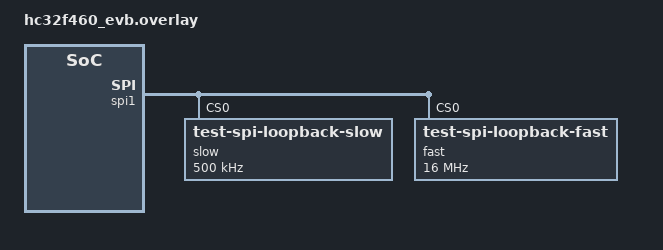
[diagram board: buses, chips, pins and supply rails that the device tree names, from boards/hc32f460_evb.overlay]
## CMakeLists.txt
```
# SPDX-License-Identifier: Apache-2.0

cmake_minimum_required(VERSION 3.20.0)

find_package(Zephyr REQUIRED HINTS $ENV{ZEPHYR_BASE})
project(spi_slave_hc32)

target_sources_ifdef(CONFIG_SPI_SLAVE app PRIVATE src/spi_slave.c)
```

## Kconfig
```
# SPDX-License-Identifier: Apache-2.0

mainmenu "SPI Slave hc32"

source "Kconfig.zephyr"

config SPI_LOOPBACK_MODE_LOOP
	bool "Configure the SPI in LOOP mode, so that no extra wiring is needed"

if SOC_SERIES_HC32

config SPI_LOOPBACK_16BITS_FRAMES
	bool "Use 16 bits frames for tests"

config DT_DEFINED_NOCACHE
	bool "Enable this if nocache regions are defined in devicetree"

if DT_DEFINED_NOCACHE

config DT_DEFINED_NOCACHE_NAME
	string "Name of the nocache region defined in devicetree (capitals)"

endif # DT_DEFINED_NOCACHE

endif # SOC_SERIES_HC32
```

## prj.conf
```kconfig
CONFIG_TEST=y
CONFIG_BOOT_BANNER=y

CONFIG_SPI=y
CONFIG_SPI_ASYNC=n
CONFIG_SPI_HC32_INTERRUPT=n
CONFIG_SPI_LOOPBACK_MODE_LOOP=n

CONFIG_SPI_SLAVE=y

CONFIG_SPI_HC32_DMA=y

CONFIG_SPI_LOG_LEVEL_INF=y
CONFIG_ZTEST=y
CONFIG_ZTEST_NEW_API=y
```

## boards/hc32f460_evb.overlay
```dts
/*
 * SPDX-License-Identifier: Apache-2.0
 *
 * Copyright (c) 2022 TOKITA Hiroshi <tokita.hiroshi@gmail.com>
 */

 &pinctrl {
	spi1_default: spi1_default {
		group1 {
			pinmux = <HC32_PINMUX('A', 8, FUNC, 43, 0)>, /*  SCK */
				 <HC32_PINMUX('B', 0, FUNC, 40, 0)>, /* MOSI */
				 <HC32_PINMUX('C', 5, FUNC, 41, 0)>, /* MISO */
				 <HC32_PINMUX('A', 7, FUNC, 42, 0)>; /* CS */
				 drive-strength = "high";
		};
	};	
};

&spi1 {
	status = "okay";
	pinctrl-0 = <&spi1_default>;
	pinctrl-names = "default";
	
	dmas =  <&dma1 2 EVT_SRC_SPI1_SPTI (HC32_DMA_MEMORY_TO_PERIPH | HC32_DMA_SOURCE_ADDR_INC | HC32_DMA_DEST_ADDR_FIX)>,
	   <&dma1 3 EVT_SRC_SPI1_SPRI (HC32_DMA_PERIPH_TO_MEMORY | HC32_DMA_SOURCE_ADDR_FIX | HC32_DMA_DEST_ADDR_INC)>;
	dma-names = "tx", "rx";

	slow@0 {
		compatible = "test-spi-loopback-slow";
		reg = <0>;
		spi-max-frequency = <500000>;
	};
	fast@0 {
		compatible = "test-spi-loopback-fast";
		reg = <0>;
		spi-max-frequency = <16000000>;
	};
};

&dma1 {
	status = "okay";
};
```

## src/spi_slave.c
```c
/*
 * Copyright (c) 2017 Intel Corporation.
 *
 * SPDX-License-Identifier: Apache-2.0
 */

#define LOG_LEVEL CONFIG_LOG_DEFAULT_LEVEL
#include <zephyr/logging/log.h>
LOG_MODULE_REGISTER(spi_loopback);

#include <zephyr/kernel.h>
#include <zephyr/sys/printk.h>
#include <string.h>
#include <stdio.h>
#include <assert.h>
#include <zephyr/ztest.h>

#include <zephyr/drivers/spi.h>

#define SPI_FAST_DEV	DT_COMPAT_GET_ANY_STATUS_OKAY(test_spi_loopback_fast)
#define SPI_SLOW_DEV	DT_COMPAT_GET_ANY_STATUS_OKAY(test_spi_loopback_slow)

#if CONFIG_SPI_LOOPBACK_MODE_LOOP
#define MODE_LOOP SPI_MODE_LOOP
#else
#define MODE_LOOP 0
#endif

#ifdef CONFIG_SPI_LOOPBACK_16BITS_FRAMES
#define FRAME_SIZE (16)
#define FRAME_SIZE_STR ", frame size = 16"
#else
#define FRAME_SIZE (8)
#define FRAME_SIZE_STR ", frame size = 8"
#endif /* CONFIG_SPI_LOOPBACK_16BITS_FRAMES */

#ifdef CONFIG_DMA

#ifdef CONFIG_NOCACHE_MEMORY
#define DMA_ENABLED_STR ", DMA enabled"
#else /* CONFIG_NOCACHE_MEMORY */
#define DMA_ENABLED_STR ", DMA enabled (without CONFIG_NOCACHE_MEMORY)"
#endif

#else /* CONFIG_DMA */

#define DMA_ENABLED_STR
#endif /* CONFIG_DMA */

#define SPI_OP(frame_size) SPI_OP_MODE_SLAVE | SPI_MODE_CPOL | MODE_LOOP | \
	       SPI_MODE_CPHA | SPI_WORD_SET(frame_size) | SPI_LINES_SINGLE

static struct spi_dt_spec spi_slow = SPI_DT_SPEC_GET(SPI_SLOW_DEV, SPI_OP(8), 0);

/* to run this test, connect MOSI pin to the MISO of the SPI */

#define STACK_SIZE 1024
#define BUF_SIZE 36

#if CONFIG_NOCACHE_MEMORY
#define __NOCACHE	__attribute__((__section__(".nocache")))
#elif defined(CONFIG_DT_DEFINED_NOCACHE)
#define __NOCACHE	__attribute__((__section__(CONFIG_DT_DEFINED_NOCACHE_NAME)))
#else /* CONFIG_NOCACHE_MEMORY */
#define __NOCACHE
#endif /* CONFIG_NOCACHE_MEMORY */

static const char tx_data[BUF_SIZE] = "SPI Master/Slave example:01234567895";
static __aligned(32) char buffer_tx[BUF_SIZE] __used __NOCACHE;
static __aligned(32) char buffer_rx[BUF_SIZE] __used __NOCACHE;

/*
 * We need 5x(buffer size) + 1 to print a comma-separated list of each
 * byte in hex, plus a null.
 */
static uint8_t buffer_print_tx[BUF_SIZE * 5 + 1];
static uint8_t buffer_print_rx[BUF_SIZE * 5 + 1];

static void to_display_format(const uint8_t *src, size_t size, char *dst)
{
	size_t i;

	for (i = 0; i < size; i++) {
		sprintf(dst + 5 * i, "0x%02x,", src[i]);
	}
}

static int spi_complete_loop(struct spi_dt_spec *spec)
{
	const struct spi_buf tx_bufs[] = {
		{
			.buf = buffer_tx,
			.len = BUF_SIZE,
		},
	};
	const struct spi_buf rx_bufs[] = {
		{
			.buf = buffer_rx,
			.len = BUF_SIZE,
		},
	};
	const struct spi_buf_set tx = {
		.buffers = tx_bufs,
		.count = ARRAY_SIZE(tx_bufs)
	};
	const struct spi_buf_set rx = {
		.buffers = rx_bufs,
		.count = ARRAY_SIZE(rx_bufs)
	};

	int ret;

	LOG_INF("Start complete loop");
	memset(buffer_rx, 0, sizeof(buffer_rx));
	ret = spi_transceive_dt(spec, &tx, &rx);
	if (ret != BUF_SIZE) {
		LOG_ERR("Code %d", ret);
		zassert_false(ret, "SPI transceive failed");
		return ret;
	}

	if (memcmp(buffer_tx, buffer_rx, BUF_SIZE)) {
		to_display_format(buffer_tx, BUF_SIZE, buffer_print_tx);
		to_display_format(buffer_rx, BUF_SIZE, buffer_print_rx);
		LOG_ERR("Buffer contents are different: %s", buffer_print_tx);
		LOG_ERR("                           vs: %s", buffer_print_rx);
		zassert_false(1, "Buffer contents are different");
		return -1;
	}

	LOG_INF("Passed");

	return 0;
}

#if (CONFIG_SPI_ASYNC)
static struct k_poll_signal async_sig = K_POLL_SIGNAL_INITIALIZER(async_sig);
static struct k_poll_event async_evt =
	K_POLL_EVENT_INITIALIZER(K_POLL_TYPE_SIGNAL,
				 K_POLL_MODE_NOTIFY_ONLY,
				 &async_sig);
static K_SEM_DEFINE(caller, 0, 1);
K_THREAD_STACK_DEFINE(spi_async_stack, STACK_SIZE);
static int result = 1;

static void spi_async_call_cb(struct k_poll_event *evt,
			      struct k_sem *caller_sem,
			      void *unused)
{
	int ret;

	LOG_DBG("Polling...");

	while (1) {
		ret = k_poll(evt, 1, K_FOREVER);
		zassert_false(ret, "one or more events are not ready");

		result = evt->signal->result;
		k_sem_give(caller_sem);

		/* Reinitializing for next call */
		evt->signal->signaled = 0U;
		evt->state = K_POLL_STATE_NOT_READY;
	}
}

static int spi_async_call(struct spi_dt_spec *spec)
{
	const struct spi_buf tx_bufs[] = {
		{
			.buf = buffer_tx,
			.len = BUF_SIZE,
		},
	};
	const struct spi_buf rx_bufs[] = {
		{
			.buf = buffer_rx,
			.len = BUF_SIZE,
		},
	};
	const struct spi_buf_set tx = {
		.buffers = tx_bufs,
		.count = ARRAY_SIZE(tx_bufs)
	};
	const struct spi_buf_set rx = {
		.buffers = rx_bufs,
		.count = ARRAY_SIZE(rx_bufs)
	};
	int ret;

	LOG_INF("Start async call");

	ret = spi_transceive_signal(spec->bus, &spec->config, &tx, &rx, &async_sig);
	if (ret == -ENOTSUP) {
		LOG_DBG("Not supported");
		return 0;
	}

	if (ret) {
		LOG_ERR("Code %d", ret);
		zassert_false(ret, "SPI transceive failed");
		return -1;
	}

	k_sem_take(&caller, K_FOREVER);

	if (result != BUF_SIZE) {
		LOG_ERR("Call code %d", ret);
		zassert_false(result, "SPI transceive failed");
		return -1;
	}

	LOG_INF("Passed");

	return 0;
}
#endif

static int spi_resource_lock_test(struct spi_dt_spec *lock_spec)
{
	lock_spec->config.operation |= SPI_LOCK_ON;

	if (spi_complete_loop(lock_spec)) {
		return -1;
	}

	if (spi_release_dt(lock_spec)) {
		LOG_ERR("Deadlock now?");
		zassert_false(1, "SPI release failed");
		return -1;
	}

	return 0;
}

ZTEST(spi_loopback, test_spi_loopback)
{
#if (CONFIG_SPI_ASYNC)
	struct k_thread async_thread;
	k_tid_t async_thread_id;
#endif

	LOG_INF("SPI test on buffers TX/RX %p/%p" FRAME_SIZE_STR DMA_ENABLED_STR,
			buffer_tx,
			buffer_rx);
	
	zassert_true(spi_is_ready_dt(&spi_slow), "Fast spi lookback device is not ready");

	LOG_INF("SPI test fast config");

	if (spi_complete_loop(&spi_slow)) {
		goto end;
	}

	if (spi_resource_lock_test(&spi_slow)) {
		goto end;
	}

#if ((CONFIG_SPI_ASYNC)&&(!CONFIG_SPI_HC32_DMA))
	async_thread_id = k_thread_create(&async_thread,
					  spi_async_stack,  K_THREAD_STACK_SIZEOF(spi_async_stack),
					  (k_thread_entry_t)spi_async_call_cb,
					  &async_evt, &caller, NULL,
					  K_HIGHEST_APPLICATION_THREAD_PRIO, 0, K_NO_WAIT);

	spi_async_call(&spi_slow);
#endif

	LOG_INF("All tx/rx passed");
end:

#if ((CONFIG_SPI_ASYNC)&&(!CONFIG_SPI_HC32_DMA))
	k_thread_abort(async_thread_id);
#else
	;
#endif
}

static void *spi_loopback_setup(void)
{
	memset(buffer_tx, 0, sizeof(buffer_tx));
	memcpy(buffer_tx, tx_data, sizeof(tx_data));
	return NULL;
}

ZTEST_SUITE(spi_loopback, NULL, spi_loopback_setup, NULL, NULL, NULL);
```
